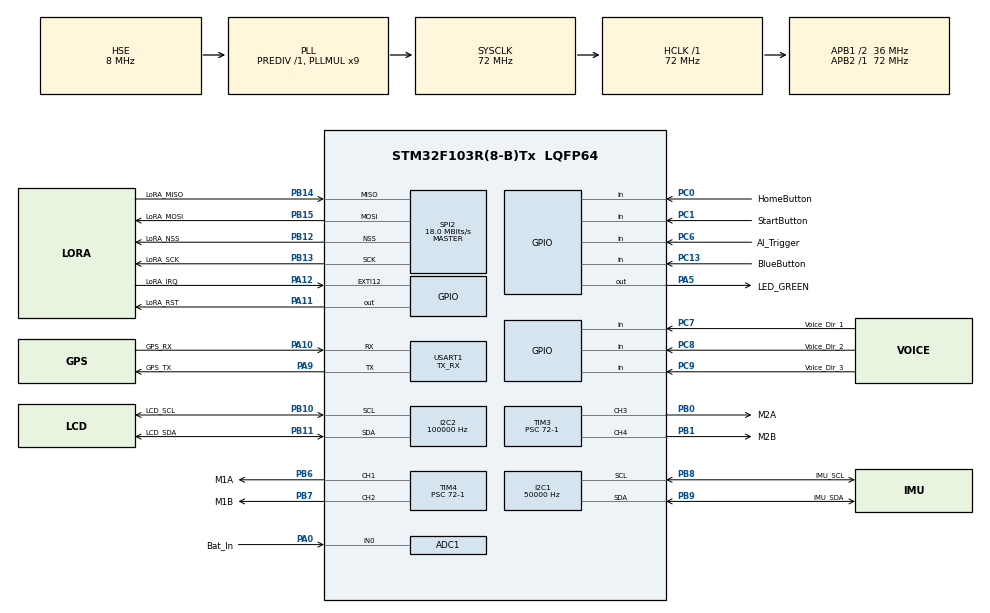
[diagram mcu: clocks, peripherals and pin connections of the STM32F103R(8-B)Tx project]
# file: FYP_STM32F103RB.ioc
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ADC1.Channel-3\#ChannelRegularConversion=ADC_CHANNEL_0
ADC1.NbrOfConversion=1
ADC1.NbrOfConversionFlag=1
ADC1.Rank-3\#ChannelRegularConversion=1
ADC1.SamplingTime-3\#ChannelRegularConversion=ADC_SAMPLETIME_1CYCLE_5
ADC1.master=1
FREERTOS.HEAP_NUMBER=4
FREERTOS.INCLUDE_eTaskGetState=0
FREERTOS.INCLUDE_uxTaskGetStackHighWaterMark=0
FREERTOS.INCLUDE_vTaskDelete=1
FREERTOS.INCLUDE_xQueueGetMutexHolder=0
FREERTOS.INCLUDE_xTaskGetSchedulerState=0
FREERTOS.INCLUDE_xTaskResumeFromISR=0
FREERTOS.INCLUDE_xTimerPendFunctionCall=0
FREERTOS.Tasks01=runTask,43,350,StartRunTask,Default,NULL,Dynamic,NULL,NULL;standbyTask,24,256,StartStandbyTask,Default,NULL,Dynamic,NULL,NULL;commTask,25,256,StartCommTask,Default,NULL,Dynamic,NULL,NULL;sensorTask,41,512,StartSensorTask,Default,NULL,Dynamic,NULL,NULL
FREERTOS.configTOTAL_HEAP_SIZE=7000
FREERTOS.configUSE_IDLE_HOOK=1
FREERTOS.configUSE_NEWLIB_REENTRANT=1
I2C1.ClockSpeed=50000
I2C2.ClockSpeed=100000
Mcu.Family=STM32F1
Mcu.Name=STM32F103R(8-B)Tx
Mcu.Package=LQFP64
NVIC.PriorityGroup=NVIC_PRIORITYGROUP_4
NVIC.TIM2_IRQn=true\:15\:0\:true\:false\:true\:false\:false\:true\:true
NVIC.TimeBase=TIM2_IRQn
NVIC.TimeBaseIP=TIM2
PA0-WKUP.GPIO_Label=Bat_In
PA0-WKUP.Signal=ADCx_IN0
PA10.GPIO_Label=GPS_RX
PA10.Mode=Asynchronous
PA10.Signal=USART1_RX
PA11.GPIO_Label=LoRA_RST
PA11.GPIO_PuPd=GPIO_PULLDOWN
PA11.Signal=GPIO_Output
PA12.GPIO_Label=LoRA_IRQ
PA12.GPIO_PuPd=GPIO_PULLDOWN
PA12.Signal=GPXTI12
PA13.GPIO_Label=TMS
PA13.Mode=Serial_Wire
PA13.Signal=SYS_JTMS-SWDIO
PA14.GPIO_Label=TCK
PA14.Mode=Serial_Wire
PA14.Signal=SYS_JTCK-SWCLK
PA5.GPIO_Label=LED_GREEN
PA5.Signal=GPIO_Output
PA9.GPIO_Label=GPS_TX
PA9.Mode=Asynchronous
PA9.Signal=USART1_TX
PB0.GPIO_Label=M2A
PB0.GPIO_ModeDefaultPP=GPIO_MODE_AF_PP
PB0.GPIO_Speed=GPIO_SPEED_FREQ_LOW
PB0.Signal=S_TIM3_CH3
PB1.GPIO_Label=M2B
PB1.GPIO_ModeDefaultPP=GPIO_MODE_AF_PP
PB1.GPIO_Speed=GPIO_SPEED_FREQ_LOW
PB1.Signal=S_TIM3_CH4
PB10.GPIO_Label=LCD_SCL
PB10.Mode=I2C
PB10.Signal=I2C2_SCL
PB11.GPIO_Label=LCD_SDA
PB11.Mode=I2C
PB11.Signal=I2C2_SDA
PB12.GPIO_Label=LoRA_NSS
PB12.Mode=NSS_Signal_Hard_Output
PB12.Signal=SPI2_NSS
PB13.GPIO_Label=LoRA_SCK
PB13.Mode=Full_Duplex_Master
PB13.Signal=SPI2_SCK
PB14.GPIO_Label=LoRA_MISO
PB14.Mode=Full_Duplex_Master
PB14.Signal=SPI2_MISO
PB15.GPIO_Label=LoRA_MOSI
PB15.Mode=Full_Duplex_Master
PB15.Signal=SPI2_MOSI
PB3.GPIO_Label=SWO
PB3.Signal=SYS_JTDO-TRACESWO
PB6.GPIO_Label=M1A
PB6.Signal=S_TIM4_CH1
PB7.GPIO_Label=M1B
PB7.Signal=S_TIM4_CH2
PB8.GPIO_Label=IMU_SCL
PB8.Mode=I2C
PB8.Signal=I2C1_SCL
PB9.GPIO_Label=IMU_SDA
PB9.Mode=I2C
PB9.Signal=I2C1_SDA
PC0.GPIO_Label=HomeButton
PC0.GPIO_PuPd=GPIO_PULLUP
PC0.Signal=GPIO_Input
PC1.GPIO_Label=StartButton
PC1.GPIO_PuPd=GPIO_PULLUP
PC1.Signal=GPIO_Input
PC13-TAMPER-RTC.GPIO_Label=BlueButton
PC13-TAMPER-RTC.GPIO_PuPd=GPIO_PULLUP
PC13-TAMPER-RTC.Signal=GPIO_Input
PC14-OSC32_IN.Signal=RCC_OSC32_IN
PC15-OSC32_OUT.Signal=RCC_OSC32_OUT
PC6.GPIO_Label=AI_Trigger
PC6.GPIO_PuPd=GPIO_PULLDOWN
PC6.Signal=GPIO_Input
PC7.GPIO_Label=Voice_Dir_1
PC7.GPIO_PuPd=GPIO_PULLDOWN
PC7.Signal=GPIO_Input
PC8.GPIO_Label=Voice_Dir_2
PC8.GPIO_PuPd=GPIO_PULLDOWN
PC8.Signal=GPIO_Input
PC9.GPIO_Label=Voice_Dir_3
PC9.GPIO_PuPd=GPIO_PULLDOWN
PC9.Signal=GPIO_Input
PD0-OSC_IN.Mode=HSE-External-Oscillator
PD0-OSC_IN.Signal=RCC_OSC_IN
PD1-OSC_OUT.Mode=HSE-External-Oscillator
PD1-OSC_OUT.Signal=RCC_OSC_OUT
ProjectManager.HeapSize=0x200
ProjectManager.StackSize=0x400
ProjectManager.TargetToolchain=STM32CubeIDE
RCC.ADCPresc=RCC_ADCPCLK2_DIV6
RCC.AHBFreq_Value=72000000
RCC.APB1CLKDivider=RCC_HCLK_DIV2
RCC.APB1Freq_Value=36000000
RCC.APB1TimFreq_Value=72000000
RCC.APB2Freq_Value=72000000
RCC.APB2TimFreq_Value=72000000
RCC.HCLKFreq_Value=72000000
RCC.PLLMUL=RCC_PLL_MUL9
RCC.PLLSourceVirtual=RCC_PLLSOURCE_HSE
RCC.RTCClockSelection=RCC_RTCCLKSOURCE_LSE
RCC.SYSCLKFreq_VALUE=72000000
RCC.SYSCLKSource=RCC_SYSCLKSOURCE_PLLCLK
RCC.USBFreq_Value=72000000
SH.ADCx_IN0.0=ADC1_IN0,IN0
SH.S_TIM3_CH3.0=TIM3_CH3,PWM Generation3 CH3
SH.S_TIM3_CH4.0=TIM3_CH4,PWM Generation4 CH4
SH.S_TIM4_CH1.0=TIM4_CH1,PWM Generation1 CH1
SH.S_TIM4_CH2.0=TIM4_CH2,PWM Generation2 CH2
SPI2.BaudRatePrescaler=SPI_BAUDRATEPRESCALER_2
SPI2.CalculateBaudRate=18.0 MBits/s
SPI2.Direction=SPI_DIRECTION_2LINES
SPI2.Mode=SPI_MODE_MASTER
SPI2.VirtualNSS=VM_NSSHARD
SPI2.VirtualType=VM_MASTER
TIM3.AutoReloadPreload=TIM_AUTORELOAD_PRELOAD_DISABLE
TIM3.Channel-PWM\ Generation3\ CH3=TIM_CHANNEL_3
TIM3.Channel-PWM\ Generation4\ CH4=TIM_CHANNEL_4
TIM3.Period=100-1
TIM3.Prescaler=72-1
TIM4.Channel-PWM\ Generation1\ CH1=TIM_CHANNEL_1
TIM4.Channel-PWM\ Generation2\ CH2=TIM_CHANNEL_2
TIM4.Period=100
TIM4.Prescaler=72-1
USART1.Mode=MODE_TX_RX
USART1.VirtualMode=VM_ASYNC
VP_FREERTOS_VS_CMSIS_V2.Mode=CMSIS_V2
VP_SYS_VS_tim2.Mode=TIM2
VP_TIM3_VS_ClockSourceINT.Mode=Internal
VP_TIM4_VS_ClockSourceINT.Mode=Internal
board=NUCLEO-F103RB

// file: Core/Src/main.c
/* USER CODE BEGIN Header */
/**
  ******************************************************************************
  * @file           : main.c
  * @brief          : Main program body
  ******************************************************************************
  * @attention
  *
  * Copyright (c) 2024 STMicroelectronics.
  * All rights reserved.
  *
  * This software is licensed under terms that can be found in the LICENSE file
  * in the root directory of this software component.
  * If no LICENSE file comes with this software, it is provided AS-IS.
  *
  ******************************************************************************
  */
/* USER CODE END Header */
#include "main.h"
#include "cmsis_os.h"

/* USER CODE BEGIN Includes */
#include "stdbool.h"
#include "LoRa.h"
#include "liquidcrystal_i2c.h"
#include "ST47_Neo6M.h"
#include "mpu6050.h"
/* USER CODE END Includes */
#include "main.h"
#include "cmsis_os.h"

/* USER CODE BEGIN Includes */
#include "stdbool.h"
#include "LoRa.h"
#include "liquidcrystal_i2c.h"
#include "ST47_Neo6M.h"
#include "mpu6050.h"

/* USER CODE BEGIN PD */
// Segger Sysview
#define DWT_CTRL (*(volatile uint32_t*)0xE0001000)

// CAN settings
#define CAN_TX_PIN GPIO_PIN_12
#define CAN_RX_PIN GPIO_PIN_11
#define CAN_FILTER_ID 0x123 // Example CAN filter ID
#define CAN_TX_QUEUE_LEN 10

// IMU device address
#define IMU_ADDRESS 0x68 // Example address, adjust as per your IMU

// IMU register addresses
#define IMU_WHO_AM_I_REG 0x75 // WHO_AM_I register to check device ID

// IMU register addresses for accelerometer and gyroscope data
#define IMU_ACCEL_XOUT_H 0x3B
#define IMU_ACCEL_XOUT_L 0x3C
#define IMU_ACCEL_YOUT_H 0x3D
#define IMU_ACCEL_YOUT_L 0x3E
#define IMU_ACCEL_ZOUT_H 0x3F
#define IMU_ACCEL_ZOUT_L 0x40
#define IMU_GYRO_XOUT_H 0x43
#define IMU_GYRO_XOUT_L 0x44
#define IMU_GYRO_YOUT_H 0x45
#define IMU_GYRO_YOUT_L 0x46
#define IMU_GYRO_ZOUT_H 0x47
#define IMU_GYRO_ZOUT_L 0x48

// Motor driver pins
#define MOTOR1_DIR1_PIN GPIO_PIN_12 // direction pin 1 for motor 1
#define MOTOR1_DIR2_PIN GPIO_PIN_13 // direction pin 2 for motor 1

#define MOTOR2_DIR1_PIN GPIO_PIN_14 // direction pin 1 for motor 2
#define MOTOR2_DIR2_PIN GPIO_PIN_15 // direction pin 2 for motor 2

// Motor parameter
#define MOTOR_MAX_SPEED 3500 // Max DAC val is 12-bit (4096)

// DAC settings
#define DAC_RESOLUTION 4095 // 12-bit DAC resolution

/* USER CODE END PD */

ADC_HandleTypeDef hadc1;

I2C_HandleTypeDef hi2c1;
I2C_HandleTypeDef hi2c2;

SPI_HandleTypeDef hspi2;

TIM_HandleTypeDef htim3;
TIM_HandleTypeDef htim4;

UART_HandleTypeDef huart1;

/* Definitions for runTask */
osThreadId_t runTaskHandle;
const osThreadAttr_t runTask_attributes = {
  .name = "runTask",
  .stack_size = 350 * 4,
  .priority = (osPriority_t) osPriorityHigh3,
};
/* Definitions for standbyTask */
osThreadId_t standbyTaskHandle;
const osThreadAttr_t standbyTask_attributes = {
  .name = "standbyTask",
  .stack_size = 256 * 4,
  .priority = (osPriority_t) osPriorityNormal,
};
/* Definitions for commTask */
osThreadId_t commTaskHandle;
const osThreadAttr_t commTask_attributes = {
  .name = "commTask",
  .stack_size = 256 * 4,
  .priority = (osPriority_t) osPriorityNormal1,
};
/* Definitions for sensorTask */
osThreadId_t sensorTaskHandle;
const osThreadAttr_t sensorTask_attributes = {
  .name = "sensorTask",
  .stack_size = 512 * 4,
  .priority = (osPriority_t) osPriorityHigh1,
};
/* USER CODE BEGIN PV */

// Motor Speed
uint16_t rightMotorSpeed = 0;
uint16_t leftMotorSpeed = 0;

// GPS data
double latitude, longitude;
double home_lat, home_long;
double targ_lat, targ_long;

// IMU data
uint8_t imu_who_am_i;
//int16_t accel_data[3];
//int16_t prev_accel_data[3];
int16_t gyro_data[3];
//float roll = 0.0f;
//float pitch = 0.0f;
float curr_heading = 0.0f;
float target_heading = 0.0f;
float heading_err = 0.0f;
float prev_heading_err = 0.0f;

// LCD data
char* lcd_status = "IDLE";

// run var
uint8_t curr_run_mode = MAIN;
uint8_t prev_run_mode = MAIN;
uint8_t home_coordinate[25];
uint8_t end_coordinate[25];

float battery_val = 0;

LoRa myLoRa;
uint8_t read_data[100];
uint8_t send_data[100];

MPU6050_t MPU6050;

ai_module ai_mod;

/* USER CODE END PV */

void SystemClock_Config(void);
static void MX_GPIO_Init(void);
static void MX_TIM3_Init(void);
static void MX_ADC1_Init(void);
static void MX_I2C1_Init(void);
static void MX_SPI2_Init(void);
static void MX_USART1_UART_Init(void);
static void MX_I2C2_Init(void);
static void MX_TIM4_Init(void);
void StartRunTask(void *argument);
void StartStandbyTask(void *argument);
void StartCommTask(void *argument);
void StartSensorTask(void *argument);

/* USER CODE BEGIN PFP */
void PID_init(PIDController *pid, float kp, float ki, float kd);
float PID_update(PIDController *pid, float setpoint, float current_value, float dt);

void LCD_Send_Command(uint8_t cmd);
void LCD_Send_Data(uint8_t data);
void LCD_Init(void);
void LCD_Print(const char *str);

void Motor_Set(int8_t speedA, int8_t speedB);

extern  void SEGGER_UART_init(uint32_t);

void vTaskDelete();
void vTaskSuspend();
void vTaskResume();

/* USER CODE END PFP */

int main(void)
{

  /* MCU Configuration--------------------------------------------------------*/

  /* Reset of all peripherals, Initializes the Flash interface and the Systick. */
  HAL_Init();

  /* Configure the system clock */
  SystemClock_Config();

  /* Initialize all configured peripherals */
  MX_GPIO_Init();
  MX_TIM3_Init();
  MX_ADC1_Init();
  MX_I2C1_Init();
  MX_SPI2_Init();
  MX_USART1_UART_Init();
  MX_I2C2_Init();
  MX_TIM4_Init();
  /* USER CODE BEGIN 2 */
  NVIC_SetPriorityGrouping( 0 );
  //Enable the CYCCNT counter
  DWT_CTRL |= ( 1 << 0 );
  //SEGGER_UART_init(500000);
  SEGGER_SYSVIEW_Conf();
  SEGGER_SYSVIEW_Start();

  // MODULE SETTINGS ----------------------------------------------
  myLoRa = newLoRa();

  myLoRa.hSPIx                 		= &hspi2;
  myLoRa.CS_port               		= NSS_GPIO_Port;
  myLoRa.CS_pin                		= NSS_Pin;
  myLoRa.reset_port            		= RESET_GPIO_Port;
  myLoRa.reset_pin             		= RESET_Pin;
  myLoRa.DIO0_port			   		= DIO0_GPIO_Port;
  myLoRa.DIO0_pin			   		= DIO0_Pin;

  myLoRa.frequency             		= 433;					// default = 433 MHz
  myLoRa.spredingFactor        		= SF_7;					// default = SF_7
  myLoRa.bandWidth			       	= BW_125KHz;			// default = BW_125KHz
  myLoRa.crcRate				    = CR_4_5;				// default = CR_4_5
  myLoRa.power					    = POWER_20db;			// default = 20db
  myLoRa.overCurrentProtection 		= 100; 					// default = 100 mA
  myLoRa.preamble				    = 10;		  			// default = 8;

  HD44780_Init(2);
  /* USER CODE END 2 */

  /* Init scheduler */
  osKernelInitialize();

  /* Create the thread(s) */
  /* creation of runTask */
  runTaskHandle = osThreadNew(StartRunTask, NULL, &runTask_attributes);

  /* creation of standbyTask */
  standbyTaskHandle = osThreadNew(StartStandbyTask, NULL, &standbyTask_attributes);

  /* creation of commTask */
  commTaskHandle = osThreadNew(StartCommTask, NULL, &commTask_attributes);

  /* creation of sensorTask */
  sensorTaskHandle = osThreadNew(StartSensorTask, NULL, &sensorTask_attributes);

  /* Start scheduler */
  osKernelStart();

  /* We should never get here as control is now taken by the scheduler */

  /* Infinite loop */
  while (1)
  {

  }
}

void SystemClock_Config(void)
{
  RCC_OscInitTypeDef RCC_OscInitStruct = {0};
  RCC_ClkInitTypeDef RCC_ClkInitStruct = {0};
  RCC_PeriphCLKInitTypeDef PeriphClkInit = {0};

  /** Initializes the RCC Oscillators according to the specified parameters
  * in the RCC_OscInitTypeDef structure.
  */
  RCC_OscInitStruct.OscillatorType = RCC_OSCILLATORTYPE_HSE;
  RCC_OscInitStruct.HSEState = RCC_HSE_ON;
  RCC_OscInitStruct.HSEPredivValue = RCC_HSE_PREDIV_DIV1;
  RCC_OscInitStruct.HSIState = RCC_HSI_ON;
  RCC_OscInitStruct.PLL.PLLState = RCC_PLL_ON;
  RCC_OscInitStruct.PLL.PLLSource = RCC_PLLSOURCE_HSE;
  RCC_OscInitStruct.PLL.PLLMUL = RCC_PLL_MUL9;
  if (HAL_RCC_OscConfig(&RCC_OscInitStruct) != HAL_OK)
  {
    Error_Handler();
  }

  /** Initializes the CPU, AHB and APB buses clocks
  */
  RCC_ClkInitStruct.ClockType = RCC_CLOCKTYPE_HCLK|RCC_CLOCKTYPE_SYSCLK
                              |RCC_CLOCKTYPE_PCLK1|RCC_CLOCKTYPE_PCLK2;
  RCC_ClkInitStruct.SYSCLKSource = RCC_SYSCLKSOURCE_PLLCLK;
  RCC_ClkInitStruct.AHBCLKDivider = RCC_SYSCLK_DIV1;
  RCC_ClkInitStruct.APB1CLKDivider = RCC_HCLK_DIV2;
  RCC_ClkInitStruct.APB2CLKDivider = RCC_HCLK_DIV1;

  if (HAL_RCC_ClockConfig(&RCC_ClkInitStruct, FLASH_LATENCY_2) != HAL_OK)
  {
    Error_Handler();
  }
  PeriphClkInit.PeriphClockSelection = RCC_PERIPHCLK_ADC;
  PeriphClkInit.AdcClockSelection = RCC_ADCPCLK2_DIV6;
  if (HAL_RCCEx_PeriphCLKConfig(&PeriphClkInit) != HAL_OK)
  {
    Error_Handler();
  }
}

static void MX_ADC1_Init(void)
{

  ADC_ChannelConfTypeDef sConfig = {0};

  /** Common config
  */
  hadc1.Instance = ADC1;
  hadc1.Init.ScanConvMode = ADC_SCAN_DISABLE;
  hadc1.Init.ContinuousConvMode = DISABLE;
  hadc1.Init.DiscontinuousConvMode = DISABLE;
  hadc1.Init.ExternalTrigConv = ADC_SOFTWARE_START;
  hadc1.Init.DataAlign = ADC_DATAALIGN_RIGHT;
  hadc1.Init.NbrOfConversion = 1;
  if (HAL_ADC_Init(&hadc1) != HAL_OK)
  {
    Error_Handler();
  }

  /** Configure Regular Channel
  */
  sConfig.Channel = ADC_CHANNEL_0;
  sConfig.Rank = ADC_REGULAR_RANK_1;
  sConfig.SamplingTime = ADC_SAMPLETIME_1CYCLE_5;
  if (HAL_ADC_ConfigChannel(&hadc1, &sConfig) != HAL_OK)
  {
    Error_Handler();
  }

}

static void MX_I2C1_Init(void)
{

  hi2c1.Instance = I2C1;
  hi2c1.Init.ClockSpeed = 50000;
  hi2c1.Init.DutyCycle = I2C_DUTYCYCLE_2;
  hi2c1.Init.OwnAddress1 = 0;
  hi2c1.Init.AddressingMode = I2C_ADDRESSINGMODE_7BIT;
  hi2c1.Init.DualAddressMode = I2C_DUALADDRESS_DISABLE;
  hi2c1.Init.OwnAddress2 = 0;
  hi2c1.Init.GeneralCallMode = I2C_GENERALCALL_DISABLE;
  hi2c1.Init.NoStretchMode = I2C_NOSTRETCH_DISABLE;
  if (HAL_I2C_Init(&hi2c1) != HAL_OK)
  {
    Error_Handler();
  }

}

static void MX_I2C2_Init(void)
{

  hi2c2.Instance = I2C2;
  hi2c2.Init.ClockSpeed = 100000;
  hi2c2.Init.DutyCycle = I2C_DUTYCYCLE_2;
  hi2c2.Init.OwnAddress1 = 0;
  hi2c2.Init.AddressingMode = I2C_ADDRESSINGMODE_7BIT;
  hi2c2.Init.DualAddressMode = I2C_DUALADDRESS_DISABLE;
  hi2c2.Init.OwnAddress2 = 0;
  hi2c2.Init.GeneralCallMode = I2C_GENERALCALL_DISABLE;
  hi2c2.Init.NoStretchMode = I2C_NOSTRETCH_DISABLE;
  if (HAL_I2C_Init(&hi2c2) != HAL_OK)
  {
    Error_Handler();
  }

}

static void MX_SPI2_Init(void)
{

  /* SPI2 parameter configuration*/
  hspi2.Instance = SPI2;
  hspi2.Init.Mode = SPI_MODE_MASTER;
  hspi2.Init.Direction = SPI_DIRECTION_2LINES;
  hspi2.Init.DataSize = SPI_DATASIZE_8BIT;
  hspi2.Init.CLKPolarity = SPI_POLARITY_LOW;
  hspi2.Init.CLKPhase = SPI_PHASE_1EDGE;
  hspi2.Init.NSS = SPI_NSS_HARD_OUTPUT;
  hspi2.Init.BaudRatePrescaler = SPI_BAUDRATEPRESCALER_2;
  hspi2.Init.FirstBit = SPI_FIRSTBIT_MSB;
  hspi2.Init.TIMode = SPI_TIMODE_DISABLE;
  hspi2.Init.CRCCalculation = SPI_CRCCALCULATION_DISABLE;
  hspi2.Init.CRCPolynomial = 10;
  if (HAL_SPI_Init(&hspi2) != HAL_OK)
  {
    Error_Handler();
  }

}

static void MX_TIM3_Init(void)
{

  TIM_ClockConfigTypeDef sClockSourceConfig = {0};
  TIM_MasterConfigTypeDef sMasterConfig = {0};
  TIM_OC_InitTypeDef sConfigOC = {0};

  htim3.Instance = TIM3;
  htim3.Init.Prescaler = 72-1;
  htim3.Init.CounterMode = TIM_COUNTERMODE_UP;
  htim3.Init.Period = 100-1;
  htim3.Init.ClockDivision = TIM_CLOCKDIVISION_DIV1;
  htim3.Init.AutoReloadPreload = TIM_AUTORELOAD_PRELOAD_DISABLE;
  if (HAL_TIM_Base_Init(&htim3) != HAL_OK)
  {
    Error_Handler();
  }
  sClockSourceConfig.ClockSource = TIM_CLOCKSOURCE_INTERNAL;
  if (HAL_TIM_ConfigClockSource(&htim3, &sClockSourceConfig) != HAL_OK)
  {
    Error_Handler();
  }
  if (HAL_TIM_PWM_Init(&htim3) != HAL_OK)
  {
    Error_Handler();
  }
  sMasterConfig.MasterOutputTrigger = TIM_TRGO_RESET;
  sMasterConfig.MasterSlaveMode = TIM_MASTERSLAVEMODE_DISABLE;
  if (HAL_TIMEx_MasterConfigSynchronization(&htim3, &sMasterConfig) != HAL_OK)
  {
    Error_Handler();
  }
  sConfigOC.OCMode = TIM_OCMODE_PWM1;
  sConfigOC.Pulse = 0;
  sConfigOC.OCPolarity = TIM_OCPOLARITY_HIGH;
  sConfigOC.OCFastMode = TIM_OCFAST_DISABLE;
  if (HAL_TIM_PWM_ConfigChannel(&htim3, &sConfigOC, TIM_CHANNEL_3) != HAL_OK)
  {
    Error_Handler();
  }
  if (HAL_TIM_PWM_ConfigChannel(&htim3, &sConfigOC, TIM_CHANNEL_4) != HAL_OK)
  {
    Error_Handler();
  }
  HAL_TIM_MspPostInit(&htim3);

}

static void MX_TIM4_Init(void)
{

  TIM_ClockConfigTypeDef sClockSourceConfig = {0};
  TIM_MasterConfigTypeDef sMasterConfig = {0};
  TIM_OC_InitTypeDef sConfigOC = {0};

  htim4.Instance = TIM4;
  htim4.Init.Prescaler = 72-1;
  htim4.Init.CounterMode = TIM_COUNTERMODE_UP;
  htim4.Init.Period = 100;
  htim4.Init.ClockDivision = TIM_CLOCKDIVISION_DIV1;
  htim4.Init.AutoReloadPreload = TIM_AUTORELOAD_PRELOAD_DISABLE;
  if (HAL_TIM_Base_Init(&htim4) != HAL_OK)
  {
    Error_Handler();
  }
  sClockSourceConfig.ClockSource = TIM_CLOCKSOURCE_INTERNAL;
  if (HAL_TIM_ConfigClockSource(&htim4, &sClockSourceConfig) != HAL_OK)
  {
    Error_Handler();
  }
  if (HAL_TIM_PWM_Init(&htim4) != HAL_OK)
  {
    Error_Handler();
  }
  sMasterConfig.MasterOutputTrigger = TIM_TRGO_RESET;
  sMasterConfig.MasterSlaveMode = TIM_MASTERSLAVEMODE_DISABLE;
  if (HAL_TIMEx_MasterConfigSynchronization(&htim4, &sMasterConfig) != HAL_OK)
  {
    Error_Handler();
  }
  sConfigOC.OCMode = TIM_OCMODE_PWM1;
  sConfigOC.Pulse = 0;
  sConfigOC.OCPolarity = TIM_OCPOLARITY_HIGH;
  sConfigOC.OCFastMode = TIM_OCFAST_DISABLE;
  if (HAL_TIM_PWM_ConfigChannel(&htim4, &sConfigOC, TIM_CHANNEL_1) != HAL_OK)
  {
    Error_Handler();
  }
  if (HAL_TIM_PWM_ConfigChannel(&htim4, &sConfigOC, TIM_CHANNEL_2) != HAL_OK)
  {
    Error_Handler();
  }
  HAL_TIM_MspPostInit(&htim4);

}

static void MX_USART1_UART_Init(void)
{

  huart1.Instance = USART1;
  huart1.Init.BaudRate = 115200;
  huart1.Init.WordLength = UART_WORDLENGTH_8B;
  huart1.Init.StopBits = UART_STOPBITS_1;
  huart1.Init.Parity = UART_PARITY_NONE;
  huart1.Init.Mode = UART_MODE_TX_RX;
  huart1.Init.HwFlowCtl = UART_HWCONTROL_NONE;
  huart1.Init.OverSampling = UART_OVERSAMPLING_16;
  if (HAL_UART_Init(&huart1) != HAL_OK)
  {
    Error_Handler();
  }

}

static void MX_GPIO_Init(void)
{
  GPIO_InitTypeDef GPIO_InitStruct = {0};

  /* GPIO Ports Clock Enable */
  __HAL_RCC_GPIOC_CLK_ENABLE();
  __HAL_RCC_GPIOD_CLK_ENABLE();
  __HAL_RCC_GPIOA_CLK_ENABLE();
  __HAL_RCC_GPIOB_CLK_ENABLE();

  /*Configure GPIO pin Output Level */
  HAL_GPIO_WritePin(GPIOA, LED_GREEN_Pin|LoRA_RST_Pin, GPIO_PIN_RESET);

  /*Configure GPIO pins : BlueButton_Pin HomeButton_Pin StartButton_Pin */
  GPIO_InitStruct.Pin = BlueButton_Pin|HomeButton_Pin|StartButton_Pin;
  GPIO_InitStruct.Mode = GPIO_MODE_INPUT;
  GPIO_InitStruct.Pull = GPIO_PULLUP;
  HAL_GPIO_Init(GPIOC, &GPIO_InitStruct);

  /*Configure GPIO pin : LED_GREEN_Pin */
  GPIO_InitStruct.Pin = LED_GREEN_Pin;
  GPIO_InitStruct.Mode = GPIO_MODE_OUTPUT_PP;
  GPIO_InitStruct.Pull = GPIO_NOPULL;
  GPIO_InitStruct.Speed = GPIO_SPEED_FREQ_LOW;
  HAL_GPIO_Init(LED_GREEN_GPIO_Port, &GPIO_InitStruct);

  /*Configure GPIO pins : AI_Trigger_Pin Voice_Dir_1_Pin Voice_Dir_2_Pin Voice_Dir_3_Pin */
  GPIO_InitStruct.Pin = AI_Trigger_Pin|Voice_Dir_1_Pin|Voice_Dir_2_Pin|Voice_Dir_3_Pin;
  GPIO_InitStruct.Mode = GPIO_MODE_INPUT;
  GPIO_InitStruct.Pull = GPIO_PULLDOWN;
  HAL_GPIO_Init(GPIOC, &GPIO_InitStruct);

  /*Configure GPIO pin : LoRA_RST_Pin */
  GPIO_InitStruct.Pin = LoRA_RST_Pin;
  GPIO_InitStruct.Mode = GPIO_MODE_OUTPUT_PP;
  GPIO_InitStruct.Pull = GPIO_PULLDOWN;
  GPIO_InitStruct.Speed = GPIO_SPEED_FREQ_LOW;
  HAL_GPIO_Init(LoRA_RST_GPIO_Port, &GPIO_InitStruct);

  /*Configure GPIO pin : LoRA_IRQ_Pin */
  GPIO_InitStruct.Pin = LoRA_IRQ_Pin;
  GPIO_InitStruct.Mode = GPIO_MODE_IT_RISING;
  GPIO_InitStruct.Pull = GPIO_PULLDOWN;
  HAL_GPIO_Init(LoRA_IRQ_GPIO_Port, &GPIO_InitStruct);

}

/* USER CODE BEGIN 4 */
void PID_init(PIDController *pid, float kp, float ki, float kd) {
    pid->kp = kp;
    pid->ki = ki;
    pid->kd = kd;
    pid->prevError = 0.0f;
    pid->integral = 0.0f;
}

float PID_update(PIDController *pid, float setpoint, float current_value, float dt) {
    float error = setpoint - current_value;
    pid->integral += error * dt;
    float derivative = (error - pid->prevError) / dt;
    float output = pid->kp * error + pid->ki * pid->integral + pid->kd * derivative;
    pid->prevError = error;
    return output;
}

void Motor_Set(int8_t speedA, int8_t speedB) {
	/* user defined speed should be between (-)100 to 100*/

	speedA = (speedA > 100) ? 100 : speedA;
	speedA = (speedA < -100) ? -100 : speedA;
	speedB = (speedB > 100) ? 100 : speedB;
	speedB = (speedB < -100) ? -100 : speedB;

	bool signBitA = (speedA & 0b10000000) >> 7;
	uint32_t absValueA = (speedA > 0) ? (uint8_t)speedA : (uint8_t)(-speedA);

	bool signBitB = (speedB & 0b10000000) >> 7;
	uint32_t absValueB = (speedB > 0) ? (uint8_t)speedB : (uint8_t)(-speedB);

	if(signBitA == 0)
	{	// Right Motor Forward
		TIM4->CCR1 = 0;
		HAL_TIM_PWM_Start(&htim4, TIM_CHANNEL_1);
		TIM4->CCR2 = absValueA;
		HAL_TIM_PWM_Start(&htim4, TIM_CHANNEL_2);
	}
	else if(signBitA == 1)
	{	// Right Motor Reverse
		TIM4->CCR1 = absValueA;
		HAL_TIM_PWM_Start(&htim4, TIM_CHANNEL_1);
		TIM4->CCR2 = 0;
		HAL_TIM_PWM_Start(&htim4, TIM_CHANNEL_2);
	}

	if(signBitB == 0)
	{	// Left Motor Forward
		TIM3->CCR3 = absValueB;
		HAL_TIM_PWM_Start(&htim3, TIM_CHANNEL_3);
		TIM3->CCR4 = 0;
		HAL_TIM_PWM_Start(&htim3, TIM_CHANNEL_4);
	}
	else if(signBitB == 1)
	{	// Left Motor Reverse
		TIM3->CCR3 = 0;
		HAL_TIM_PWM_Start(&htim3, TIM_CHANNEL_3);
		TIM3->CCR4 = absValueB;
		HAL_TIM_PWM_Start(&htim3, TIM_CHANNEL_4);
	}

	if (speedA == 0 && speedB == 0)
	{
	  HAL_TIM_PWM_Stop(&htim4, TIM_CHANNEL_1);
	  HAL_TIM_PWM_Stop(&htim4, TIM_CHANNEL_2);
	  HAL_TIM_PWM_Stop(&htim3, TIM_CHANNEL_3);
	  HAL_TIM_PWM_Stop(&htim3, TIM_CHANNEL_4);
	}

//	char textToWrite[ 30 ];
//	sprintf(textToWrite,"A:%3.lu B:%3.lu", absValueA, absValueB);
//	SEGGER_SYSVIEW_PrintfTarget(textToWrite);
//	sprintf(textToWrite,"SA:%d SB:%d", signBitA, signBitB);
//	SEGGER_SYSVIEW_PrintfTarget(textToWrite);
}

uint16_t read_adc_value(void)
{
  uint16_t adc_value = 0;
  HAL_ADC_Start(&hadc1);
  if (HAL_ADC_PollForConversion(&hadc1, 10) == HAL_OK)
  {
    adc_value = HAL_ADC_GetValue(&hadc1);
  }
  HAL_ADC_Stop(&hadc1);
  return adc_value;
}

void HAL_UART_RxCpltCallback(UART_HandleTypeDef *huart)
{
	GPS_Callback();
}
/* USER CODE END 4 */

void StartRunTask(void *argument)
{
  /* USER CODE BEGIN 5 */
  int8_t speedA = 0, speedB = 0, imu_reset_counter = 0;
  char sv_runtask_msg[40];
  double dt_runtask = 0;
  uint32_t timer_runtask;
  vTaskSuspend(NULL); // Suspend the task
  /* Infinite loop */
  for(;;)
  {
	setOnBoardLED;

	if((heading_err >= 2 || heading_err <= -2) && curr_run_mode != ROTATE){
		prev_run_mode = curr_run_mode;
		curr_run_mode = ROTATE;
	}else if ((heading_err <= 2 && heading_err >= -2) && curr_run_mode == ROTATE){
		speedA = 0.0;
		speedB = 0.0;
		curr_run_mode = prev_run_mode;
	}

	switch(curr_run_mode){
		case MAIN:
			lcd_status = "MAIN";
			target_heading = 0.0f;
			dt_runtask = 0;
			speedA = 70 + 10 * heading_err;
			speedB = 70 + 10 * -heading_err;

			if(mic_detected){				// Check sound pass threshold
				Motor_Set(0, 0);
				curr_run_mode = SEARCH;
				timer_runtask = HAL_GetTick();
			}
			break;
		case SEARCH:
			lcd_status = "SEARCH";
			speedA = 0.0;
			speedB = 0.0;
			if(mic_read_001)				// Check sound source direction
			{
				target_heading = -42.0f;	// 42 IMU val = 180 degree real-world value
			}else if(mic_read_010)
			{
				target_heading = -28.0f;
			}else if(mic_read_011)
			{
				target_heading = -14.0f;
			}else if(mic_read_100)
			{
				target_heading = 0.0f;
			}else if(mic_read_101)
			{
				target_heading = 14.0f;
			}else if(mic_read_110)
			{
				target_heading = 28.0f;
			}
			if(ai_mod.cam_pin1 == 1)		// Check if human detected
			{
				target_heading = 0.0f;
				curr_run_mode = MAIN;
			}
			dt_runtask = (double)(HAL_GetTick() - timer_runtask) / 1000;
			if(dt_runtask > 8){			// Check if function reach timeout
				curr_run_mode = MAIN;
				speedA = 0.0;
				speedB = 0.0;
			}
			break;
		case ROTATE:
			lcd_status = "ROTATE";
			timer_runtask = HAL_GetTick();

			if(heading_err > 5)
			{
				speedA = 100;
				speedB = -100;
			}
			else if(heading_err < -5)
			{
				speedA = -100;
				speedB = 100;
			}
			else
			{
				speedA = heading_err * 20;
				speedB = heading_err * -20;
			}

			if(speedA != 0 && speedB != 0){
				if(imu_reset_counter > 5){
					MX_I2C1_Init();
					imu_reset_counter = 0;
				}
				else
				{
					if(prev_heading_err != heading_err){
						imu_reset_counter = 0;
					}else{
						imu_reset_counter++;
					}

				}
			}
			prev_heading_err = heading_err;
			break;
		case RETURN:
			lcd_status = "RETURN";
			target_heading = 42.0f;
			break;
		case FINISH:
			speedA = 0.0;
			speedB = 0.0;
			vTaskResume(standbyTaskHandle);
			vTaskSuspend(NULL);
			break;
	}

	Motor_Set(speedA, speedB);

	if(checkStartButton)
	{
		while(checkStartButton);
		vTaskSuspend(sensorTaskHandle);
		vTaskResume(standbyTaskHandle);
		vTaskSuspend(NULL);
	}

	snprintf(sv_runtask_msg, sizeof(sv_runtask_msg), "dt: %2f | MOD: %1.d | H_Err: %2.2f", dt_runtask, curr_run_mode + 1, heading_err);
	SEGGER_SYSVIEW_PrintfTarget(sv_runtask_msg);

	snprintf(sv_runtask_msg, sizeof(sv_runtask_msg), "SPA: %3.1d | SPB: %3.1d | res_c: %3.0d", speedA, speedB, imu_reset_counter);
	SEGGER_SYSVIEW_PrintfTarget(sv_runtask_msg);

    osDelay(80);
  }
  /* USER CODE END 5 */
}

void StartStandbyTask(void *argument)
{
  /* USER CODE BEGIN StartStandbyTask */
  char sv_standbytask_msg[40];
  char sv_standbytask_msg_len = sizeof(sv_standbytask_msg);
  bool LD4_toggle = 0;
  /* Infinite loop */
  for(;;)
  {
	HAL_GPIO_WritePin(GPIOA, GPIO_PIN_5, LD4_toggle);
	LD4_toggle = !LD4_toggle;
	// Stop motors
	Motor_Set(0, 0);

	// Show status
	lcd_status = "IDLE";
	MPU6050.HeadingZ = 0;
	target_heading = 0.0f;
	heading_err = 0.0f;
	curr_run_mode = MAIN;
	prev_run_mode = MAIN;

	if(checkStartButton)
	{
		while(checkStartButton);
		// Reset IMU
		MPU6050.HeadingZ = 0;
		vTaskResume(runTaskHandle);
		vTaskResume(sensorTaskHandle);
		vTaskSuspend(NULL);
	}

	if(checkHomeButton)
	{
		home_lat = latitude;
		home_long = longitude;
		targ_lat = home_lat + 100;
		targ_long = home_long + 100;
	}

	snprintf(sv_standbytask_msg, sv_standbytask_msg_len, "Home: %f, %f", home_lat, home_long);
	SEGGER_SYSVIEW_PrintfTarget(sv_standbytask_msg);
	snprintf(sv_standbytask_msg, sv_standbytask_msg_len, "Targ: %f, %f", targ_lat, targ_long);
	SEGGER_SYSVIEW_PrintfTarget(sv_standbytask_msg);

	osDelay(200);
  }
  /* USER CODE END StartStandbyTask */
}

void StartCommTask(void *argument)
{
  /* USER CODE BEGIN StartCommTask */
  LoRa_reset(&myLoRa);
  LoRa_init(&myLoRa);
  LoRa_startReceiving(&myLoRa);
  char sv_commtask_msg[50];
  char sv_commtask_msg_len = sizeof(sv_commtask_msg);
//  char lora_tx_buffer[100];
//  char lora_tx_buffer_len = sizeof(lora_tx_buffer);
//  char lcd_buffer[15];
//  char lcd_buffer_len = sizeof(lcd_buffer);
  /* Infinite loop */
  for(;;)
  {
	// Battery Voltage
	battery_val = read_adc_value() * 1.15 / 4096.0 * 16.5;

//	snprintf(lcd_buffer, lcd_buffer_len, "S: %s", lcd_status);
//    HD44780_Clear();
//    HD44780_SetCursor(0,0);
//    HD44780_PrintStr(lcd_buffer);
//    snprintf(lcd_buffer, lcd_buffer_len, "B:%2.1f H:%2.0f", battery_val, heading_err);
//    HD44780_SetCursor(0,1);
//    HD44780_PrintStr(lcd_buffer);

	snprintf(sv_commtask_msg, sv_commtask_msg_len, "MODE: %s\n | BATT: %2.2f\n", lcd_status, battery_val);
	SEGGER_SYSVIEW_PrintfTarget(sv_commtask_msg);

//	osDelay(200);

	// SENDING DATA - - - - - - - - - - - - - - - - - - - - - - - - -
	// Package data to be trasmitted
//	snprintf(lora_tx_buffer, lora_tx_buffer_len, "SHome Coordinate: %s | End Coordinate: %s", (char*)home_coordinate, (char*)end_coordinate);
//	memcpy(send_data, lora_tx_buffer, lora_tx_buffer_len);
//	send_data[0] = 0x3B; // MY ADDRESS
//	LoRa_transmit(&myLoRa, send_data, 100, 500);

//	snprintf(sv_commtask_msg, sv_commtask_msg_len, "TxLORA: %s", (char*)send_data);
//	SEGGER_SYSVIEW_PrintfTarget(sv_commtask_msg);
//
//	osDelay(200);
//
//	// RECEIVING DATA - - - - - - - - - - - - - - - - - - - - - - - -
//	LoRa_receive(&myLoRa, read_data, 100);
//
//	snprintf(sv_commtask_msg, sv_commtask_msg_len, "RxLORA: %s", (char*)read_data);
//	SEGGER_SYSVIEW_PrintfTarget(sv_commtask_msg);

    osDelay(500);
  }
  /* USER CODE END StartCommTask */
}

void StartSensorTask(void *argument)
{
  /* USER CODE BEGIN StartSensorTask */
  char sv_sensortask_msg[50];
  char sv_sensortask_msg_len = sizeof(sv_sensortask_msg);
  GPS_Init();
  MPU6050_Init(&hi2c1);
  vTaskSuspend(NULL); // Suspend the task
  /* Infinite loop */
  for(;;)
  {
	// Read IMU (I2C)
	MPU6050_Read_Gyro(&hi2c1, &MPU6050);

	curr_heading = MPU6050.HeadingZ;
	heading_err = curr_heading - target_heading;

	// Read GPS (UART)
//	latitude = GPS_GetLatitude();
//	longitude = GPS_GetLongtitude();

	// Process received data here
//	snprintf(sv_sensortask_msg, sv_sensortask_msg_len, "LAT: %f | LONG: %f | IMU: %6.2f", latitude, longitude, curr_heading);
	snprintf(sv_sensortask_msg, sv_sensortask_msg_len, "IMU: %6.2f", curr_heading);
	SEGGER_SYSVIEW_PrintfTarget(sv_sensortask_msg);

	// Read AI module
	ai_mod.cam_pin1 = HAL_GPIO_ReadPin(GPIOC, GPIO_PIN_6);
	ai_mod.mic_pin1 = HAL_GPIO_ReadPin(GPIOC, GPIO_PIN_7);
	ai_mod.mic_pin2 = HAL_GPIO_ReadPin(GPIOC, GPIO_PIN_8);
	ai_mod.mic_pin3 = HAL_GPIO_ReadPin(GPIOC, GPIO_PIN_9);

	snprintf(sv_sensortask_msg, sv_sensortask_msg_len, "C: %u | MC3: %u | MC2: %u | MC1: %u", ai_mod.cam_pin1, ai_mod.mic_pin3, ai_mod.mic_pin2, ai_mod.mic_pin1);
	SEGGER_SYSVIEW_PrintfTarget(sv_sensortask_msg);

	osDelay(100);
  }
  /* USER CODE END StartSensorTask */
}

void HAL_TIM_PeriodElapsedCallback(TIM_HandleTypeDef *htim)
{
  if (htim->Instance == TIM2) {
    HAL_IncTick();
  }
}

void Error_Handler(void)
{
  __disable_irq();
  while (1)
  {
  }
}
